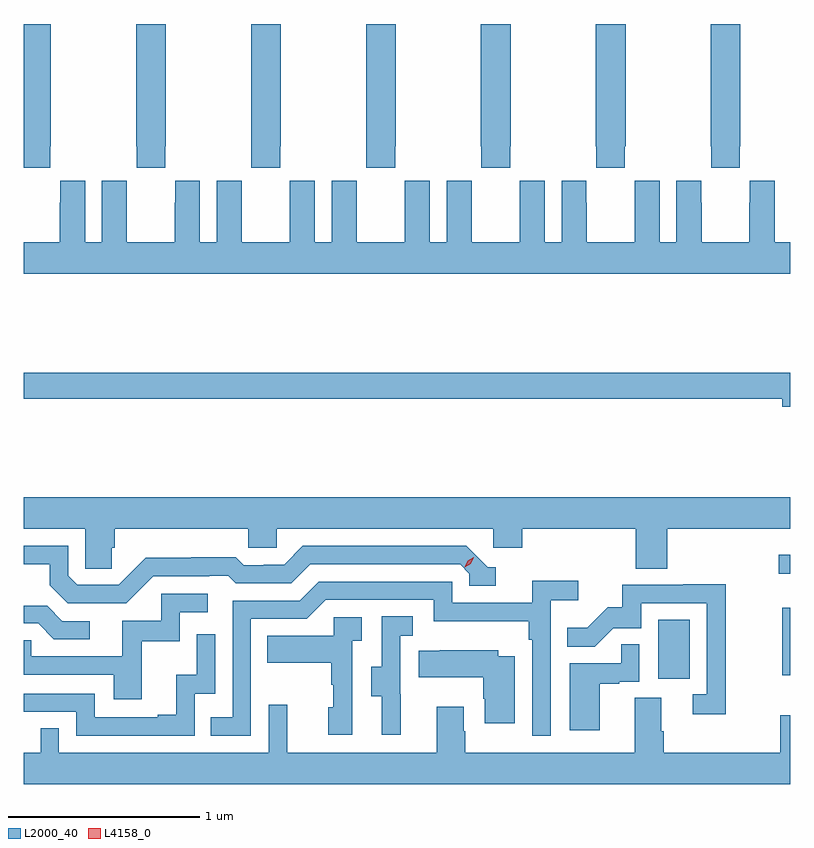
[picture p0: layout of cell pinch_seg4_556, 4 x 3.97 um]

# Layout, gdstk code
import gdstk
lib = gdstk.Library(unit=1e-6, precision=1e-09)
def R(c, l, rs):  # rectangles x0, y0, x1, y1
    for r in rs: c.add(gdstk.rectangle(r[:2], r[2:], *l))
def P(c, l, *ps):  # polygons
    for p in ps: c.add(gdstk.Polygon(p, *l))
L2000_40 = (2000, 40)
L4158_0 = (4158, 0)

pinch_seg4_556 = lib.new_cell('pinch_seg4_556')
R(pinch_seg4_556, L2000_40, [(1093.988,780.054,1094.152,780.361), (1094.636,780.072,1094.677,780.424), (1094.619,780.603,1094.677,780.7)])
P(pinch_seg4_556, L2000_40, [(1094.415,782.833),(1094.418,782.833),(1094.418,783.472),(1094.263,783.472),(1094.263,782.833),(1094.265,782.833),(1094.265,782.721),(1094.415,782.721)],
  [(1090.815,782.833),(1090.818,782.833),(1090.818,783.472),(1090.677,783.472),(1090.677,782.721),(1090.815,782.721)],
  [(1091.415,782.833),(1091.418,782.833),(1091.418,783.472),(1091.263,783.472),(1091.263,782.833),(1091.265,782.833),(1091.265,782.721),(1091.415,782.721)],
  [(1092.015,782.833),(1092.018,782.833),(1092.018,783.472),(1091.863,783.472),(1091.863,782.833),(1091.865,782.833),(1091.865,782.721),(1092.015,782.721)],
  [(1092.615,782.833),(1092.618,782.833),(1092.618,783.472),(1092.463,783.472),(1092.463,782.833),(1092.465,782.833),(1092.465,782.721),(1092.615,782.721)],
  [(1093.215,782.833),(1093.218,782.833),(1093.218,783.472),(1093.063,783.472),(1093.063,782.833),(1093.065,782.833),(1093.065,782.721),(1093.215,782.721)],
  [(1093.815,782.833),(1093.818,782.833),(1093.818,783.472),(1093.663,783.472),(1093.663,782.833),(1093.665,782.833),(1093.665,782.721),(1093.815,782.721)],
  [(1094.677,782.332),(1094.596,782.332),(1094.596,782.653),(1094.466,782.653),(1094.466,782.54),(1094.465,782.54),(1094.465,782.332),(1094.215,782.332),(1094.215,782.54),(1094.214,782.54),(1094.214,782.653),(1094.084,782.653),(1094.084,782.332),(1093.996,782.332),(1093.996,782.653),(1093.866,782.653),(1093.866,782.54),(1093.865,782.54),(1093.865,782.332),(1093.615,782.332),(1093.615,782.54),(1093.614,782.54),(1093.614,782.653),(1093.484,782.653),(1093.484,782.332),(1093.396,782.332),(1093.396,782.653),(1093.266,782.653),(1093.266,782.54),(1093.265,782.54),(1093.265,782.332),(1093.015,782.332),(1093.015,782.54),(1093.014,782.54),(1093.014,782.653),(1092.884,782.653),(1092.884,782.332),(1092.796,782.332),(1092.796,782.653),(1092.666,782.653),(1092.666,782.54),(1092.665,782.54),(1092.665,782.332),(1092.415,782.332),(1092.415,782.54),(1092.414,782.54),(1092.414,782.653),(1092.284,782.653),(1092.284,782.332),(1092.196,782.332),(1092.196,782.653),(1092.066,782.653),(1092.066,782.54),(1092.065,782.54),(1092.065,782.332),(1091.815,782.332),(1091.815,782.54),(1091.814,782.54),(1091.814,782.653),(1091.684,782.653),(1091.684,782.332),(1091.596,782.332),(1091.596,782.653),(1091.466,782.653),(1091.466,782.54),(1091.465,782.54),(1091.465,782.332),(1091.215,782.332),(1091.215,782.54),(1091.214,782.54),(1091.214,782.653),(1091.084,782.653),(1091.084,782.332),(1090.996,782.332),(1090.996,782.653),(1090.866,782.653),(1090.866,782.54),(1090.865,782.54),(1090.865,782.332),(1090.677,782.332),(1090.677,782.168),(1094.677,782.168)],
  [(1094.677,781.652),(1090.677,781.652),(1090.677,781.516),(1094.636,781.516),(1094.636,781.474),(1094.677,781.474)],
  [(1091.135,780.738),(1091.15,780.738),(1091.15,780.836),(1091.847,780.836),(1091.847,780.738),(1091.997,780.738),(1091.997,780.836),(1093.128,780.836),(1093.128,780.738),(1093.28,780.738),(1093.28,780.836),(1093.871,780.836),(1093.871,780.628),(1094.036,780.628),(1094.036,780.836),(1094.677,780.836),(1094.677,781),(1090.677,781),(1090.677,780.836),(1090.998,780.836),(1090.998,780.628),(1091.135,780.628)],
  [(1091.352,780.588),(1091.645,780.588),(1091.645,780.591),(1091.744,780.591),(1091.783,780.552),(1092.072,780.552),(1092.171,780.651),(1092.954,780.651),(1093.002,780.603),(1093.002,780.54),(1093.141,780.54),(1093.141,780.636),(1093.098,780.636),(1092.987,780.747),(1092.134,780.747),(1092.035,780.648),(1091.928,780.648),(1091.928,780.645),(1091.825,780.645),(1091.783,780.688),(1091.55,780.688),(1091.55,780.685),(1091.314,780.685),(1091.172,780.543),(1090.956,780.543),(1090.908,780.591),(1090.908,780.747),(1090.677,780.747),(1090.677,780.651),(1090.811,780.651),(1090.811,780.541),(1090.905,780.447),(1091.211,780.447)],
  [(1091.862,780.366),(1092.153,780.366),(1092.252,780.465),(1092.816,780.465),(1092.816,780.353),(1093.312,780.353),(1093.312,780.257),(1093.332,780.257),(1093.332,779.757),(1093.428,779.757),(1093.428,780.464),(1093.57,780.464),(1093.57,780.566),(1093.331,780.566),(1093.331,780.45),(1092.912,780.45),(1092.912,780.561),(1092.215,780.561),(1092.116,780.462),(1091.766,780.462),(1091.766,779.853),(1091.653,779.853),(1091.653,779.757),(1091.862,779.757)],
  [(1094.342,780.548),(1094.119,780.548),(1094.119,780.543),(1093.801,780.543),(1093.801,780.426),(1093.724,780.426),(1093.617,780.319),(1093.513,780.319),(1093.513,780.22),(1093.657,780.22),(1093.755,780.318),(1093.899,780.318),(1093.899,780.447),(1094.241,780.447),(1094.241,779.973),(1094.169,779.973),(1094.169,779.868),(1094.342,779.868)],
  [(1091.291,780.249),(1091.49,780.249),(1091.49,780.402),(1091.638,780.402),(1091.638,780.498),(1091.394,780.498),(1091.394,780.357),(1091.189,780.357),(1091.189,780.171),(1090.715,780.171),(1090.715,780.255),(1090.677,780.255),(1090.677,780.075),(1091.147,780.075),(1091.147,779.946),(1091.291,779.946)],
  [(1091.02,780.354),(1090.878,780.354),(1090.798,780.434),(1090.677,780.434),(1090.677,780.342),(1090.751,780.342),(1090.832,780.261),(1091.02,780.261)],
  [(1092.644,779.973),(1092.642,779.973),(1092.642,780.277),(1092.706,780.277),(1092.706,780.38),(1092.546,780.38),(1092.546,780.117),(1092.491,780.117),(1092.491,779.962),(1092.545,779.962),(1092.545,779.76),(1092.644,779.76)],
  [(1092.39,780.251),(1092.442,780.251),(1092.442,780.375),(1092.294,780.375),(1092.294,780.277),(1091.947,780.277),(1091.947,780.137),(1092.282,780.137),(1092.282,780.023),(1092.292,780.023),(1092.292,779.904),(1092.266,779.904),(1092.266,779.76),(1092.39,779.76)],
  [(1091.568,779.976),(1091.676,779.976),(1091.676,780.286),(1091.58,780.286),(1091.58,780.074),(1091.471,780.074),(1091.471,779.866),(1091.375,779.866),(1091.375,779.853),(1091.046,779.853),(1091.046,779.976),(1090.677,779.976),(1090.677,779.88),(1090.95,779.88),(1090.95,779.757),(1091.568,779.757)],
  [(1093.684,780.027),(1093.784,780.027),(1093.784,780.039),(1093.89,780.039),(1093.89,780.233),(1093.795,780.233),(1093.795,780.135),(1093.526,780.135),(1093.526,779.784),(1093.684,779.784)],
  [(1093.24,780.172),(1093.153,780.172),(1093.153,780.202),(1092.847,780.202),(1092.847,780.199),(1092.739,780.199),(1092.739,780.062),(1093.075,780.062),(1093.075,779.949),(1093.082,779.949),(1093.082,779.82),(1093.24,779.82)],
  [(1094.677,779.863),(1094.627,779.863),(1094.627,779.668),(1094.018,779.668),(1094.018,779.78),(1094.005,779.78),(1094.005,779.954),(1093.865,779.954),(1093.865,779.668),(1092.981,779.668),(1092.981,779.78),(1092.973,779.78),(1092.973,779.908),(1092.833,779.908),(1092.833,779.668),(1092.053,779.668),(1092.053,779.917),(1091.955,779.917),(1091.955,779.668),(1090.86,779.668),(1090.86,779.795),(1090.764,779.795),(1090.764,779.668),(1090.677,779.668),(1090.677,779.504),(1094.677,779.504)])
P(pinch_seg4_556, L4158_0, [(1092.979,780.636),(1092.979,780.636),(1092.995,780.669),(1093.026,780.688),(1093.026,780.688),(1093.026,780.687),(1093.01,780.655),(1092.979,780.636)])

lib.write_gds('pinch_seg4_556.gds')
